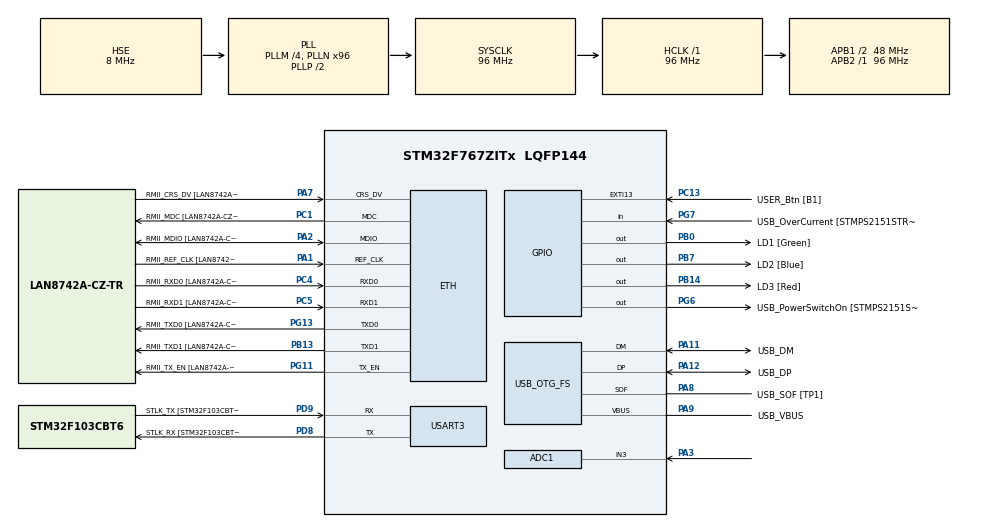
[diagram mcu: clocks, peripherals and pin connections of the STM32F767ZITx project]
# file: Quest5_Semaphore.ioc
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ADC1.Channel-1\#ChannelRegularConversion=ADC_CHANNEL_3
ADC1.NbrOfConversionFlag=1
ADC1.Rank-1\#ChannelRegularConversion=1
ADC1.SamplingTime-1\#ChannelRegularConversion=ADC_SAMPLETIME_3CYCLES
ADC1.master=1
ETH.MediaInterface=HAL_ETH_RMII_MODE
ETH.PHY_Name=LAN8742A_PHY_ADDRESS
ETH.PHY_Value=0
ETH.PhyAddress=0
FREERTOS.BinarySemaphores01=SemCalc,Dynamic,NULL,Depleted;SemSend,Dynamic,NULL,Depleted
FREERTOS.Tasks01=TaskCalc,24,128,StartTaskCalc,Default,NULL,Dynamic,NULL,NULL;TaskADC,24,128,StartTaskADC,Default,NULL,Dynamic,NULL,NULL;TaskSend,24,256,StartTaskSend,Default,NULL,Dynamic,NULL,NULL
FREERTOS.configUSE_NEWLIB_REENTRANT=1
Mcu.Family=STM32F7
Mcu.Name=STM32F767ZITx
Mcu.Package=LQFP144
NVIC.EXTI15_10_IRQn=true\:5\:0\:false\:false\:true\:true\:true\:true\:true
NVIC.PriorityGroup=NVIC_PRIORITYGROUP_4
NVIC.TIM1_UP_TIM10_IRQn=true\:15\:0\:false\:false\:true\:false\:false\:true\:true
NVIC.TimeBase=TIM1_UP_TIM10_IRQn
NVIC.TimeBaseIP=TIM1
PA1.GPIO_Label=RMII_REF_CLK [LAN8742A-CZ-TR_REFCLK0]
PA1.Mode=RMII
PA1.Signal=ETH_REF_CLK
PA10.GPIO_Label=USB_ID
PA10.Signal=USB_OTG_FS_ID
PA11.GPIO_Label=USB_DM
PA11.Mode=Device_Only
PA11.Signal=USB_OTG_FS_DM
PA12.GPIO_Label=USB_DP
PA12.Mode=Device_Only
PA12.Signal=USB_OTG_FS_DP
PA13.GPIO_Label=TMS
PA13.Mode=Serial_Wire
PA13.Signal=SYS_JTMS-SWDIO
PA14.GPIO_Label=TCK
PA14.Mode=Serial_Wire
PA14.Signal=SYS_JTCK-SWCLK
PA2.GPIO_Label=RMII_MDIO [LAN8742A-CZ-TR_MDIO]
PA2.Mode=RMII
PA2.Signal=ETH_MDIO
PA3.Signal=ADCx_IN3
PA7.GPIO_Label=RMII_CRS_DV [LAN8742A-CZ-TR_CRS_DV]
PA7.Mode=RMII
PA7.Signal=ETH_CRS_DV
PA8.GPIO_Label=USB_SOF [TP1]
PA8.Mode=Activate_SOF_FS
PA8.Signal=USB_OTG_FS_SOF
PA9.GPIO_Label=USB_VBUS
PA9.Mode=Activate_VBUS
PA9.Signal=USB_OTG_FS_VBUS
PB0.GPIO_Label=LD1 [Green]
PB0.Signal=GPIO_Output
PB13.GPIO_Label=RMII_TXD1 [LAN8742A-CZ-TR_TXD1]
PB13.Mode=RMII
PB13.Signal=ETH_TXD1
PB14.GPIO_Label=LD3 [Red]
PB14.Signal=GPIO_Output
PB3.GPIO_Label=SWO
PB3.Signal=SYS_JTDO-SWO
PB7.GPIO_Label=LD2 [Blue]
PB7.Signal=GPIO_Output
PC1.GPIO_Label=RMII_MDC [LAN8742A-CZ-TR_MDC]
PC1.Mode=RMII
PC1.Signal=ETH_MDC
PC13.GPIO_Label=USER_Btn [B1]
PC13.Signal=GPXTI13
PC14/OSC32_IN.Mode=LSE-External-Oscillator
PC14/OSC32_IN.Signal=RCC_OSC32_IN
PC15/OSC32_OUT.Mode=LSE-External-Oscillator
PC15/OSC32_OUT.Signal=RCC_OSC32_OUT
PC4.GPIO_Label=RMII_RXD0 [LAN8742A-CZ-TR_RXD0]
PC4.Mode=RMII
PC4.Signal=ETH_RXD0
PC5.GPIO_Label=RMII_RXD1 [LAN8742A-CZ-TR_RXD1]
PC5.Mode=RMII
PC5.Signal=ETH_RXD1
PD8.GPIO_Label=STLK_RX [STM32F103CBT6_PA3]
PD8.Mode=Asynchronous
PD8.Signal=USART3_TX
PD9.GPIO_Label=STLK_TX [STM32F103CBT6_PA2]
PD9.Mode=Asynchronous
PD9.Signal=USART3_RX
PG11.GPIO_Label=RMII_TX_EN [LAN8742A-CZ-TR_TXEN]
PG11.Mode=RMII
PG11.Signal=ETH_TX_EN
PG13.GPIO_Label=RMII_TXD0 [LAN8742A-CZ-TR_TXD0]
PG13.Mode=RMII
PG13.Signal=ETH_TXD0
PG6.GPIO_Label=USB_PowerSwitchOn [STMPS2151STR_EN]
PG6.Signal=GPIO_Output
PG7.GPIO_Label=USB_OverCurrent [STMPS2151STR_FAULT]
PG7.Signal=GPIO_Input
PH0/OSC_IN.GPIO_Label=MCO [STM32F103CBT6_PA8]
PH0/OSC_IN.Mode=HSE-External-Oscillator
PH0/OSC_IN.Signal=RCC_OSC_IN
PH1/OSC_OUT.Mode=HSE-External-Oscillator
PH1/OSC_OUT.Signal=RCC_OSC_OUT
ProjectManager.HeapSize=0x200
ProjectManager.StackSize=0x400
ProjectManager.TargetToolchain=STM32CubeIDE
RCC.48MHZClocksFreq_Value=24000000
RCC.AHBFreq_Value=96000000
RCC.APB1CLKDivider=RCC_HCLK_DIV2
RCC.APB1Freq_Value=48000000
RCC.APB1TimFreq_Value=96000000
RCC.APB2Freq_Value=96000000
RCC.APB2TimFreq_Value=96000000
RCC.CortexFreq_Value=96000000
RCC.HCLKFreq_Value=96000000
RCC.HSE_VALUE=8000000
RCC.HSI_VALUE=16000000
RCC.PLLM=4
RCC.PLLMUL=RCC_PLL_MUL9
RCC.PLLN=96
RCC.PLLQ=4
RCC.PRESCALERUSB=RCC_USBCLKSOURCE_PLL_DIV1_5
RCC.SYSCLKFreq_VALUE=96000000
RCC.SYSCLKSource=RCC_SYSCLKSOURCE_PLLCLK
RCC.SYSCLKSourceVirtual=RCC_SYSCLKSOURCE_PLLCLK
RCC.USBFreq_Value=48000000
RCC.VCOOutputFreq_Value=192000000
SH.ADCx_IN3.0=ADC1_IN3,IN3
USART3.VirtualMode-Asynchronous=VM_ASYNC
USB_OTG_FS.VirtualMode=Device_Only
VP_FREERTOS_VS_CMSIS_V2.Mode=CMSIS_V2
VP_SYS_VS_tim1.Mode=TIM1
board=NUCLEO-F767ZI

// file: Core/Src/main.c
/* USER CODE BEGIN Header */
/**
  ******************************************************************************
  * @file           : main.c
  * @brief          : Main program body
  ******************************************************************************
  * @attention
  *
  * Copyright (c) 2025 STMicroelectronics.
  * All rights reserved.
  *
  * This software is licensed under terms that can be found in the LICENSE file
  * in the root directory of this software component.
  * If no LICENSE file comes with this software, it is provided AS-IS.
  *
  ******************************************************************************
  */
/* USER CODE END Header */
#include "main.h"
#include "string.h"
#include "cmsis_os.h"

/* USER CODE BEGIN Includes */
#include <stdio.h>
/* USER CODE END Includes */

#if defined ( __ICCARM__ ) /*!< IAR Compiler */
#pragma location=0x2007c000
ETH_DMADescTypeDef  DMARxDscrTab[ETH_RX_DESC_CNT]; /* Ethernet Rx DMA Descriptors */
#pragma location=0x2007c0a0
ETH_DMADescTypeDef  DMATxDscrTab[ETH_TX_DESC_CNT]; /* Ethernet Tx DMA Descriptors */

#elif defined ( __CC_ARM )  /* MDK ARM Compiler */

__attribute__((at(0x2007c000))) ETH_DMADescTypeDef  DMARxDscrTab[ETH_RX_DESC_CNT]; /* Ethernet Rx DMA Descriptors */
__attribute__((at(0x2007c0a0))) ETH_DMADescTypeDef  DMATxDscrTab[ETH_TX_DESC_CNT]; /* Ethernet Tx DMA Descriptors */

#elif defined ( __GNUC__ ) /* GNU Compiler */

ETH_DMADescTypeDef DMARxDscrTab[ETH_RX_DESC_CNT] __attribute__((section(".RxDecripSection"))); /* Ethernet Rx DMA Descriptors */
ETH_DMADescTypeDef DMATxDscrTab[ETH_TX_DESC_CNT] __attribute__((section(".TxDecripSection")));   /* Ethernet Tx DMA Descriptors */
#endif

ETH_TxPacketConfig TxConfig;

ADC_HandleTypeDef hadc1;

ETH_HandleTypeDef heth;

UART_HandleTypeDef huart3;

PCD_HandleTypeDef hpcd_USB_OTG_FS;

/* Definitions for TaskCalc */
osThreadId_t TaskCalcHandle;
const osThreadAttr_t TaskCalc_attributes = {
  .name = "TaskCalc",
  .stack_size = 128 * 4,
  .priority = (osPriority_t) osPriorityNormal,
};
/* Definitions for TaskADC */
osThreadId_t TaskADCHandle;
const osThreadAttr_t TaskADC_attributes = {
  .name = "TaskADC",
  .stack_size = 128 * 4,
  .priority = (osPriority_t) osPriorityNormal,
};
/* Definitions for TaskSend */
osThreadId_t TaskSendHandle;
const osThreadAttr_t TaskSend_attributes = {
  .name = "TaskSend",
  .stack_size = 256 * 4,
  .priority = (osPriority_t) osPriorityNormal,
};
/* Definitions for SemCalc */
osSemaphoreId_t SemCalcHandle;
const osSemaphoreAttr_t SemCalc_attributes = {
  .name = "SemCalc"
};
/* Definitions for SemSend */
osSemaphoreId_t SemSendHandle;
const osSemaphoreAttr_t SemSend_attributes = {
  .name = "SemSend"
};
/* USER CODE BEGIN PV */
double ADC_Samples [10] = {0};

int Flag_State = 0;

double Convert_ADC(uint16_t x, float in_min, float in_max, float out_min, float out_max)
{
    return (x - in_min) * (out_max - out_min) / (in_max - in_min) + out_min;
}

double med = 0;
/* USER CODE END PV */

void SystemClock_Config(void);
static void MX_GPIO_Init(void);
static void MX_ETH_Init(void);
static void MX_USART3_UART_Init(void);
static void MX_USB_OTG_FS_PCD_Init(void);
static void MX_ADC1_Init(void);
void StartTaskCalc(void *argument);
void StartTaskADC(void *argument);
void StartTaskSend(void *argument);

int main(void)
{

  /* MCU Configuration--------------------------------------------------------*/

  /* Reset of all peripherals, Initializes the Flash interface and the Systick. */
  HAL_Init();

  /* Configure the system clock */
  SystemClock_Config();

  /* Initialize all configured peripherals */
  MX_GPIO_Init();
  MX_ETH_Init();
  MX_USART3_UART_Init();
  MX_USB_OTG_FS_PCD_Init();
  MX_ADC1_Init();

  /* Init scheduler */
  osKernelInitialize();

  /* Create the semaphores(s) */
  /* creation of SemCalc */
  SemCalcHandle = osSemaphoreNew(1, 0, &SemCalc_attributes);

  /* creation of SemSend */
  SemSendHandle = osSemaphoreNew(1, 0, &SemSend_attributes);

  /* Create the thread(s) */
  /* creation of TaskCalc */
  TaskCalcHandle = osThreadNew(StartTaskCalc, NULL, &TaskCalc_attributes);

  /* creation of TaskADC */
  TaskADCHandle = osThreadNew(StartTaskADC, NULL, &TaskADC_attributes);

  /* creation of TaskSend */
  TaskSendHandle = osThreadNew(StartTaskSend, NULL, &TaskSend_attributes);

  /* Start scheduler */
  osKernelStart();

  /* We should never get here as control is now taken by the scheduler */

  /* Infinite loop */
  while (1)
  {

  }
}

void SystemClock_Config(void)
{
  RCC_OscInitTypeDef RCC_OscInitStruct = {0};
  RCC_ClkInitTypeDef RCC_ClkInitStruct = {0};

  /** Configure LSE Drive Capability
  */
  HAL_PWR_EnableBkUpAccess();

  /** Configure the main internal regulator output voltage
  */
  __HAL_RCC_PWR_CLK_ENABLE();
  __HAL_PWR_VOLTAGESCALING_CONFIG(PWR_REGULATOR_VOLTAGE_SCALE3);

  /** Initializes the RCC Oscillators according to the specified parameters
  * in the RCC_OscInitTypeDef structure.
  */
  RCC_OscInitStruct.OscillatorType = RCC_OSCILLATORTYPE_HSE;
  RCC_OscInitStruct.HSEState = RCC_HSE_ON;
  RCC_OscInitStruct.PLL.PLLState = RCC_PLL_ON;
  RCC_OscInitStruct.PLL.PLLSource = RCC_PLLSOURCE_HSE;
  RCC_OscInitStruct.PLL.PLLM = 4;
  RCC_OscInitStruct.PLL.PLLN = 96;
  RCC_OscInitStruct.PLL.PLLP = RCC_PLLP_DIV2;
  RCC_OscInitStruct.PLL.PLLQ = 4;
  RCC_OscInitStruct.PLL.PLLR = 2;
  if (HAL_RCC_OscConfig(&RCC_OscInitStruct) != HAL_OK)
  {
    Error_Handler();
  }

  /** Activate the Over-Drive mode
  */
  if (HAL_PWREx_EnableOverDrive() != HAL_OK)
  {
    Error_Handler();
  }

  /** Initializes the CPU, AHB and APB buses clocks
  */
  RCC_ClkInitStruct.ClockType = RCC_CLOCKTYPE_HCLK|RCC_CLOCKTYPE_SYSCLK
                              |RCC_CLOCKTYPE_PCLK1|RCC_CLOCKTYPE_PCLK2;
  RCC_ClkInitStruct.SYSCLKSource = RCC_SYSCLKSOURCE_PLLCLK;
  RCC_ClkInitStruct.AHBCLKDivider = RCC_SYSCLK_DIV1;
  RCC_ClkInitStruct.APB1CLKDivider = RCC_HCLK_DIV2;
  RCC_ClkInitStruct.APB2CLKDivider = RCC_HCLK_DIV1;

  if (HAL_RCC_ClockConfig(&RCC_ClkInitStruct, FLASH_LATENCY_3) != HAL_OK)
  {
    Error_Handler();
  }
}

static void MX_ADC1_Init(void)
{

  ADC_ChannelConfTypeDef sConfig = {0};

  /** Configure the global features of the ADC (Clock, Resolution, Data Alignment and number of conversion)
  */
  hadc1.Instance = ADC1;
  hadc1.Init.ClockPrescaler = ADC_CLOCK_SYNC_PCLK_DIV4;
  hadc1.Init.Resolution = ADC_RESOLUTION_12B;
  hadc1.Init.ScanConvMode = ADC_SCAN_DISABLE;
  hadc1.Init.ContinuousConvMode = DISABLE;
  hadc1.Init.DiscontinuousConvMode = DISABLE;
  hadc1.Init.ExternalTrigConvEdge = ADC_EXTERNALTRIGCONVEDGE_NONE;
  hadc1.Init.ExternalTrigConv = ADC_SOFTWARE_START;
  hadc1.Init.DataAlign = ADC_DATAALIGN_RIGHT;
  hadc1.Init.NbrOfConversion = 1;
  hadc1.Init.DMAContinuousRequests = DISABLE;
  hadc1.Init.EOCSelection = ADC_EOC_SINGLE_CONV;
  if (HAL_ADC_Init(&hadc1) != HAL_OK)
  {
    Error_Handler();
  }

  /** Configure for the selected ADC regular channel its corresponding rank in the sequencer and its sample time.
  */
  sConfig.Channel = ADC_CHANNEL_3;
  sConfig.Rank = ADC_REGULAR_RANK_1;
  sConfig.SamplingTime = ADC_SAMPLETIME_3CYCLES;
  if (HAL_ADC_ConfigChannel(&hadc1, &sConfig) != HAL_OK)
  {
    Error_Handler();
  }

}

static void MX_ETH_Init(void)
{

   static uint8_t MACAddr[6];

  heth.Instance = ETH;
  MACAddr[0] = 0x00;
  MACAddr[1] = 0x80;
  MACAddr[2] = 0xE1;
  MACAddr[3] = 0x00;
  MACAddr[4] = 0x00;
  MACAddr[5] = 0x00;
  heth.Init.MACAddr = &MACAddr[0];
  heth.Init.MediaInterface = HAL_ETH_RMII_MODE;
  heth.Init.TxDesc = DMATxDscrTab;
  heth.Init.RxDesc = DMARxDscrTab;
  heth.Init.RxBuffLen = 1524;

  if (HAL_ETH_Init(&heth) != HAL_OK)
  {
    Error_Handler();
  }

  memset(&TxConfig, 0 , sizeof(ETH_TxPacketConfig));
  TxConfig.Attributes = ETH_TX_PACKETS_FEATURES_CSUM | ETH_TX_PACKETS_FEATURES_CRCPAD;
  TxConfig.ChecksumCtrl = ETH_CHECKSUM_IPHDR_PAYLOAD_INSERT_PHDR_CALC;
  TxConfig.CRCPadCtrl = ETH_CRC_PAD_INSERT;

}

static void MX_USART3_UART_Init(void)
{

  huart3.Instance = USART3;
  huart3.Init.BaudRate = 115200;
  huart3.Init.WordLength = UART_WORDLENGTH_8B;
  huart3.Init.StopBits = UART_STOPBITS_1;
  huart3.Init.Parity = UART_PARITY_NONE;
  huart3.Init.Mode = UART_MODE_TX_RX;
  huart3.Init.HwFlowCtl = UART_HWCONTROL_NONE;
  huart3.Init.OverSampling = UART_OVERSAMPLING_16;
  huart3.Init.OneBitSampling = UART_ONE_BIT_SAMPLE_DISABLE;
  huart3.AdvancedInit.AdvFeatureInit = UART_ADVFEATURE_NO_INIT;
  if (HAL_UART_Init(&huart3) != HAL_OK)
  {
    Error_Handler();
  }

}

static void MX_USB_OTG_FS_PCD_Init(void)
{

  hpcd_USB_OTG_FS.Instance = USB_OTG_FS;
  hpcd_USB_OTG_FS.Init.dev_endpoints = 6;
  hpcd_USB_OTG_FS.Init.speed = PCD_SPEED_FULL;
  hpcd_USB_OTG_FS.Init.dma_enable = DISABLE;
  hpcd_USB_OTG_FS.Init.phy_itface = PCD_PHY_EMBEDDED;
  hpcd_USB_OTG_FS.Init.Sof_enable = ENABLE;
  hpcd_USB_OTG_FS.Init.low_power_enable = DISABLE;
  hpcd_USB_OTG_FS.Init.lpm_enable = DISABLE;
  hpcd_USB_OTG_FS.Init.vbus_sensing_enable = ENABLE;
  hpcd_USB_OTG_FS.Init.use_dedicated_ep1 = DISABLE;
  if (HAL_PCD_Init(&hpcd_USB_OTG_FS) != HAL_OK)
  {
    Error_Handler();
  }

}

static void MX_GPIO_Init(void)
{
  GPIO_InitTypeDef GPIO_InitStruct = {0};

  /* GPIO Ports Clock Enable */
  __HAL_RCC_GPIOC_CLK_ENABLE();
  __HAL_RCC_GPIOH_CLK_ENABLE();
  __HAL_RCC_GPIOA_CLK_ENABLE();
  __HAL_RCC_GPIOB_CLK_ENABLE();
  __HAL_RCC_GPIOD_CLK_ENABLE();
  __HAL_RCC_GPIOG_CLK_ENABLE();

  /*Configure GPIO pin Output Level */
  HAL_GPIO_WritePin(GPIOB, LD1_Pin|LD3_Pin|LD2_Pin, GPIO_PIN_RESET);

  /*Configure GPIO pin Output Level */
  HAL_GPIO_WritePin(USB_PowerSwitchOn_GPIO_Port, USB_PowerSwitchOn_Pin, GPIO_PIN_RESET);

  /*Configure GPIO pin : USER_Btn_Pin */
  GPIO_InitStruct.Pin = USER_Btn_Pin;
  GPIO_InitStruct.Mode = GPIO_MODE_IT_RISING;
  GPIO_InitStruct.Pull = GPIO_NOPULL;
  HAL_GPIO_Init(USER_Btn_GPIO_Port, &GPIO_InitStruct);

  /*Configure GPIO pins : LD1_Pin LD3_Pin LD2_Pin */
  GPIO_InitStruct.Pin = LD1_Pin|LD3_Pin|LD2_Pin;
  GPIO_InitStruct.Mode = GPIO_MODE_OUTPUT_PP;
  GPIO_InitStruct.Pull = GPIO_NOPULL;
  GPIO_InitStruct.Speed = GPIO_SPEED_FREQ_LOW;
  HAL_GPIO_Init(GPIOB, &GPIO_InitStruct);

  /*Configure GPIO pin : USB_PowerSwitchOn_Pin */
  GPIO_InitStruct.Pin = USB_PowerSwitchOn_Pin;
  GPIO_InitStruct.Mode = GPIO_MODE_OUTPUT_PP;
  GPIO_InitStruct.Pull = GPIO_NOPULL;
  GPIO_InitStruct.Speed = GPIO_SPEED_FREQ_LOW;
  HAL_GPIO_Init(USB_PowerSwitchOn_GPIO_Port, &GPIO_InitStruct);

  /*Configure GPIO pin : USB_OverCurrent_Pin */
  GPIO_InitStruct.Pin = USB_OverCurrent_Pin;
  GPIO_InitStruct.Mode = GPIO_MODE_INPUT;
  GPIO_InitStruct.Pull = GPIO_NOPULL;
  HAL_GPIO_Init(USB_OverCurrent_GPIO_Port, &GPIO_InitStruct);

  /* EXTI interrupt init*/
  HAL_NVIC_SetPriority(EXTI15_10_IRQn, 5, 0);
  HAL_NVIC_EnableIRQ(EXTI15_10_IRQn);

}

/* USER CODE BEGIN 4 */
void HAL_GPIO_EXTI_Callback(uint16_t pin)
{
	if(pin == USER_Btn_Pin)
	{
		Flag_State = 1;
		HAL_GPIO_TogglePin(LD3_GPIO_Port, LD3_Pin);
	}
}

/* USER CODE END 4 */

void StartTaskCalc(void *argument)
{
  /* USER CODE BEGIN 5 */
	double sum = 0;
  /* Infinite loop */
  for(;;)
  {
	  osSemaphoreAcquire(SemCalcHandle, osWaitForever);

	  for (int i = 0; i<=10; i++)
	  {
		  sum = ADC_Samples[i] + sum;
	  }

	  med =  sum/10;

	  osSemaphoreRelease(SemSendHandle);

    osDelay(100);
  }
  /* USER CODE END 5 */
}

void StartTaskADC(void *argument)
{
  /* USER CODE BEGIN StartTaskADC */
	uint16_t adc_value;
/* Infinite loop */
  for(;;)
  {
	if (Flag_State == 1)
	{
		for(int i = 0; i<=10; i++)
		{
			HAL_ADC_Start(&hadc1);
			HAL_ADC_PollForConversion(&hadc1, 10);
			adc_value = HAL_ADC_GetValue(&hadc1);
			ADC_Samples[i] = Convert_ADC( adc_value,  0, 4095, 0, 3.3);

		}
	}

	osSemaphoreRelease(SemCalcHandle);

    osDelay(100);
  }
  /* USER CODE END StartTaskADC */
}

void StartTaskSend(void *argument)
{
  /* USER CODE BEGIN StartTaskSend */
  /* Infinite loop */
  for(;;)
  {
	osSemaphoreAcquire(SemSendHandle, osWaitForever);

	char str[100];
	snprintf(str, 100, "Media dos valores obtidos = %lf", med);
	HAL_UART_Transmit(&huart3, (uint8_t*) str, strlen(str),100);

    osDelay(100);
  }
  /* USER CODE END StartTaskSend */
}

void HAL_TIM_PeriodElapsedCallback(TIM_HandleTypeDef *htim)
{
  if (htim->Instance == TIM1)
  {
    HAL_IncTick();
  }
}

void Error_Handler(void)
{
  __disable_irq();
  while (1)
  {
  }
}
